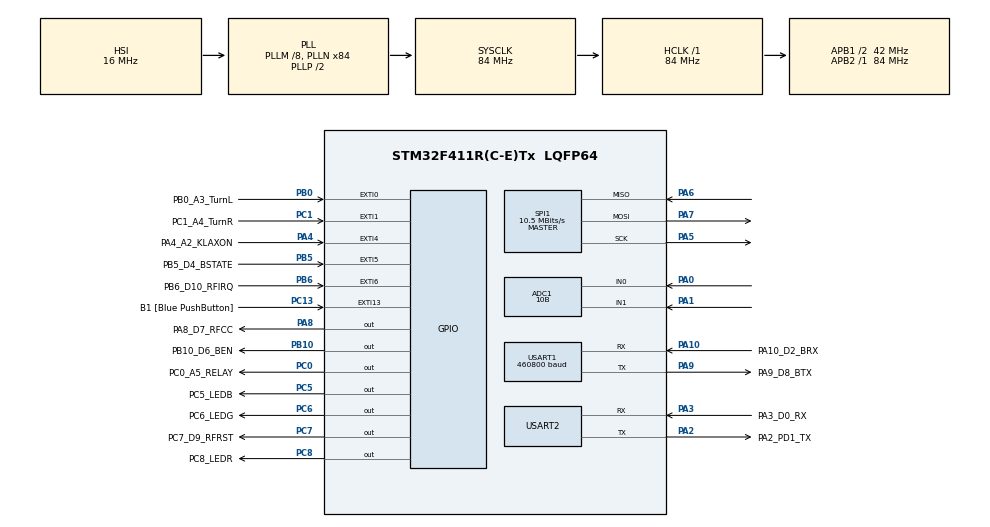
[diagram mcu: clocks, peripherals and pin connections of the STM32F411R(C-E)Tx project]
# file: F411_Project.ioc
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ADC1.Channel-0\#ChannelRegularConversion=ADC_CHANNEL_0
ADC1.Channel-1\#ChannelRegularConversion=ADC_CHANNEL_1
ADC1.ClockPrescaler=ADC_CLOCK_SYNC_PCLK_DIV8
ADC1.ContinuousConvMode=ENABLE
ADC1.DMAContinuousRequests=ENABLE
ADC1.NbrOfConversion=2
ADC1.NbrOfConversionFlag=1
ADC1.Rank-0\#ChannelRegularConversion=1
ADC1.Rank-1\#ChannelRegularConversion=2
ADC1.Resolution=ADC_RESOLUTION_10B
ADC1.SamplingTime-0\#ChannelRegularConversion=ADC_SAMPLETIME_84CYCLES
ADC1.SamplingTime-1\#ChannelRegularConversion=ADC_SAMPLETIME_84CYCLES
ADC1.master=1
Dma.ADC1.0.Direction=DMA_PERIPH_TO_MEMORY
Dma.ADC1.0.FIFOMode=DMA_FIFOMODE_DISABLE
Dma.ADC1.0.Instance=DMA2_Stream0
Dma.ADC1.0.MemDataAlignment=DMA_MDATAALIGN_HALFWORD
Dma.ADC1.0.MemInc=DMA_MINC_ENABLE
Dma.ADC1.0.Mode=DMA_CIRCULAR
Dma.ADC1.0.PeriphDataAlignment=DMA_PDATAALIGN_HALFWORD
Dma.ADC1.0.PeriphInc=DMA_PINC_DISABLE
Dma.ADC1.0.Priority=DMA_PRIORITY_LOW
Dma.Request0=ADC1
FREERTOS.Mutexes01=UART_MUTEX,Dynamic,NULL,Available
FREERTOS.Tasks01=defaultTask,24,128,StartDefaultTask,Default,NULL,Dynamic,NULL,NULL;Joystick,8,256,JoystickTask,Default,NULL,Dynamic,NULL,NULL;RFID,8,512,RFIDTask,Default,NULL,Dynamic,NULL,NULL;Bluetooth,8,512,BluetoothTask,Default,NULL,Dynamic,NULL,NULL;Control,8,256,ControlTask,Default,NULL,Dynamic,NULL,NULL
Mcu.Family=STM32F4
Mcu.Name=STM32F411R(C-E)Tx
Mcu.Package=LQFP64
NVIC.DMA2_Stream0_IRQn=true\:5\:0\:false\:false\:true\:true\:false\:true\:true
NVIC.EXTI0_IRQn=true\:5\:0\:false\:false\:true\:true\:true\:true\:true
NVIC.EXTI1_IRQn=true\:5\:0\:false\:false\:true\:true\:true\:true\:true
NVIC.EXTI4_IRQn=true\:5\:0\:false\:false\:true\:true\:true\:true\:true
NVIC.EXTI9_5_IRQn=true\:5\:0\:false\:false\:true\:true\:true\:true\:true
NVIC.PriorityGroup=NVIC_PRIORITYGROUP_4
NVIC.TIM1_UP_TIM10_IRQn=true\:15\:0\:false\:false\:true\:false\:false\:true\:true
NVIC.TimeBase=TIM1_UP_TIM10_IRQn
NVIC.TimeBaseIP=TIM10
PA0-WKUP.Signal=ADCx_IN0
PA1.Signal=ADCx_IN1
PA10.GPIO_Label=PA10_D2_BRX
PA10.Mode=Asynchronous
PA10.Signal=USART1_RX
PA13.GPIO_Label=TMS
PA13.Mode=Serial_Wire
PA13.Signal=SYS_JTMS-SWDIO
PA14.GPIO_Label=TCK
PA14.Mode=Serial_Wire
PA14.Signal=SYS_JTCK-SWCLK
PA2.GPIO_Label=PA2_PD1_TX
PA2.Mode=Asynchronous
PA2.Signal=USART2_TX
PA3.GPIO_Label=PA3_D0_RX
PA3.Mode=Asynchronous
PA3.Signal=USART2_RX
PA4.GPIO_Label=PA4_A2_KLAXON
PA4.GPIO_ModeDefaultEXTI=GPIO_MODE_IT_FALLING
PA4.Signal=GPXTI4
PA5.Mode=Full_Duplex_Master
PA5.Signal=SPI1_SCK
PA6.Mode=Full_Duplex_Master
PA6.Signal=SPI1_MISO
PA7.Mode=Full_Duplex_Master
PA7.Signal=SPI1_MOSI
PA8.GPIO_Label=PA8_D7_RFCC
PA8.PinState=GPIO_PIN_SET
PA8.Signal=GPIO_Output
PA9.GPIO_Label=PA9_D8_BTX
PA9.Mode=Asynchronous
PA9.Signal=USART1_TX
PB0.GPIO_Label=PB0_A3_TurnL
PB0.GPIO_ModeDefaultEXTI=GPIO_MODE_IT_RISING_FALLING
PB0.GPIO_PuPd=GPIO_NOPULL
PB0.Signal=GPXTI0
PB10.GPIO_Label=PB10_D6_BEN
PB10.GPIO_PuPd=GPIO_NOPULL
PB10.PinState=GPIO_PIN_SET
PB10.Signal=GPIO_Output
PB3.GPIO_Label=SWO
PB3.Signal=SYS_JTDO-SWO
PB5.GPIO_Label=PB5_D4_BSTATE
PB5.GPIO_ModeDefaultEXTI=GPIO_MODE_IT_RISING_FALLING
PB5.Signal=GPXTI5
PB6.GPIO_Label=PB6_D10_RFIRQ
PB6.GPIO_ModeDefaultEXTI=GPIO_MODE_IT_RISING_FALLING
PB6.GPIO_PuPd=GPIO_PULLUP
PB6.Signal=GPXTI6
PC0.GPIO_Label=PC0_A5_RELAY
PC0.PinState=GPIO_PIN_RESET
PC0.Signal=GPIO_Output
PC1.GPIO_Label=PC1_A4_TurnR
PC1.GPIO_ModeDefaultEXTI=GPIO_MODE_IT_RISING_FALLING
PC1.GPIO_PuPd=GPIO_NOPULL
PC1.Signal=GPXTI1
PC13-ANTI_TAMP.GPIO_Label=B1 [Blue PushButton]
PC13-ANTI_TAMP.GPIO_ModeDefaultEXTI=GPIO_MODE_IT_FALLING
PC13-ANTI_TAMP.Signal=GPXTI13
PC14-OSC32_IN.Mode=LSE-External-Oscillator
PC14-OSC32_IN.Signal=RCC_OSC32_IN
PC15-OSC32_OUT.Mode=LSE-External-Oscillator
PC15-OSC32_OUT.Signal=RCC_OSC32_OUT
PC5.GPIO_Label=PC5_LEDB
PC5.Signal=GPIO_Output
PC6.GPIO_Label=PC6_LEDG
PC6.Signal=GPIO_Output
PC7.GPIO_Label=PC7_D9_RFRST
PC7.PinState=GPIO_PIN_SET
PC7.Signal=GPIO_Output
PC8.GPIO_Label=PC8_LEDR
PC8.Signal=GPIO_Output
PH0\ -\ OSC_IN.Mode=HSE-External-Clock-Source
PH0\ -\ OSC_IN.Signal=RCC_OSC_IN
PH1\ -\ OSC_OUT.Mode=HSE-External-Clock-Source
PH1\ -\ OSC_OUT.Signal=RCC_OSC_OUT
ProjectManager.HeapSize=0x200
ProjectManager.StackSize=0x400
ProjectManager.TargetToolchain=CMake
RCC.48MHZClocksFreq_Value=42000000
RCC.AHBFreq_Value=84000000
RCC.APB1CLKDivider=RCC_HCLK_DIV2
RCC.APB1Freq_Value=42000000
RCC.APB1TimFreq_Value=84000000
RCC.APB2Freq_Value=84000000
RCC.APB2TimFreq_Value=84000000
RCC.CortexFreq_Value=84000000
RCC.FLatency-AdvancedSettings=FLASH_LATENCY_2
RCC.HCLKFreq_Value=84000000
RCC.HSE_VALUE=8000000
RCC.HSI_VALUE=16000000
RCC.PLLM=8
RCC.PLLN=84
RCC.SYSCLKFreq_VALUE=84000000
RCC.SYSCLKSource=RCC_SYSCLKSOURCE_PLLCLK
RCC.VCOOutputFreq_Value=168000000
SH.ADCx_IN0.0=ADC1_IN0,IN0
SH.ADCx_IN1.0=ADC1_IN1,IN1
SPI1.BaudRatePrescaler=SPI_BAUDRATEPRESCALER_8
SPI1.CalculateBaudRate=10.5 MBits/s
SPI1.Direction=SPI_DIRECTION_2LINES
SPI1.Mode=SPI_MODE_MASTER
SPI1.VirtualType=VM_MASTER
USART1.BaudRate=460800
USART1.VirtualMode=VM_ASYNC
USART2.VirtualMode=VM_ASYNC
VP_FREERTOS_VS_CMSIS_V2.Mode=CMSIS_V2
VP_SYS_VS_tim10.Mode=TIM10
board=NUCLEO-F411RE

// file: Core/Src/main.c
/* USER CODE BEGIN Header */
/**
  ******************************************************************************
  * @file           : main.c
  * @brief          : Main program body
  ******************************************************************************
  * @attention
  *
  * Copyright (c) 2026 STMicroelectronics.
  * All rights reserved.
  *
  * This software is licensed under terms that can be found in the LICENSE file
  * in the root directory of this software component.
  * If no LICENSE file comes with this software, it is provided AS-IS.
  *
  ******************************************************************************
  */
/* USER CODE END Header */
#include "main.h"
#include "cmsis_os.h"
#include "adc.h"
#include "dma.h"
#include "spi.h"
#include "usart.h"
#include "gpio.h"

/* USER CODE BEGIN Includes */
#include <stdio.h>
#include <stdint.h>
/* USER CODE END Includes */

void SystemClock_Config(void);
void MX_FREERTOS_Init(void);

/* USER CODE BEGIN 0 */
int __io_putchar(int ch)
{
  HAL_UART_Transmit(&huart2, (uint8_t*)&ch, 1, 0xFFFF);
  return ch;
}
/* USER CODE END 0 */

int main(void)
{

  /* MCU Configuration--------------------------------------------------------*/

  /* Reset of all peripherals, Initializes the Flash interface and the Systick. */
  HAL_Init(); bn

  /* Configure the system clock */
  SystemClock_Config();

  /* Initialize all configured peripherals */
  MX_GPIO_Init();
  MX_DMA_Init();
  MX_USART2_UART_Init();
  MX_ADC1_Init();
  MX_USART1_UART_Init();
  MX_SPI1_Init();

  /* Init scheduler */
  osKernelInitialize();  /* Call init function for freertos objects (in cmsis_os2.c) */
  MX_FREERTOS_Init();

  /* Start scheduler */
  osKernelStart();

  /* We should never get here as control is now taken by the scheduler */

  /* Infinite loop */
  while (1)
  {

  }
}

void SystemClock_Config(void)
{
  RCC_OscInitTypeDef RCC_OscInitStruct = {0};
  RCC_ClkInitTypeDef RCC_ClkInitStruct = {0};

  /** Configure the main internal regulator output voltage
  */
  __HAL_RCC_PWR_CLK_ENABLE();
  __HAL_PWR_VOLTAGESCALING_CONFIG(PWR_REGULATOR_VOLTAGE_SCALE1);

  /** Initializes the RCC Oscillators according to the specified parameters
  * in the RCC_OscInitTypeDef structure.
  */
  RCC_OscInitStruct.OscillatorType = RCC_OSCILLATORTYPE_HSI;
  RCC_OscInitStruct.HSIState = RCC_HSI_ON;
  RCC_OscInitStruct.HSICalibrationValue = RCC_HSICALIBRATION_DEFAULT;
  RCC_OscInitStruct.PLL.PLLState = RCC_PLL_ON;
  RCC_OscInitStruct.PLL.PLLSource = RCC_PLLSOURCE_HSI;
  RCC_OscInitStruct.PLL.PLLM = 8;
  RCC_OscInitStruct.PLL.PLLN = 84;
  RCC_OscInitStruct.PLL.PLLP = RCC_PLLP_DIV2;
  RCC_OscInitStruct.PLL.PLLQ = 4;
  if (HAL_RCC_OscConfig(&RCC_OscInitStruct) != HAL_OK)
  {
    Error_Handler();
  }

  /** Initializes the CPU, AHB and APB buses clocks
  */
  RCC_ClkInitStruct.ClockType = RCC_CLOCKTYPE_HCLK|RCC_CLOCKTYPE_SYSCLK
                              |RCC_CLOCKTYPE_PCLK1|RCC_CLOCKTYPE_PCLK2;
  RCC_ClkInitStruct.SYSCLKSource = RCC_SYSCLKSOURCE_PLLCLK;
  RCC_ClkInitStruct.AHBCLKDivider = RCC_SYSCLK_DIV1;
  RCC_ClkInitStruct.APB1CLKDivider = RCC_HCLK_DIV2;
  RCC_ClkInitStruct.APB2CLKDivider = RCC_HCLK_DIV1;

  if (HAL_RCC_ClockConfig(&RCC_ClkInitStruct, FLASH_LATENCY_2) != HAL_OK)
  {
    Error_Handler();
  }
}

void HAL_TIM_PeriodElapsedCallback(TIM_HandleTypeDef *htim)
{
  if (htim->Instance == TIM10)
  {
    HAL_IncTick();
  }
}

void Error_Handler(void)
{
  __disable_irq();
  while (1)
  {
  }
}

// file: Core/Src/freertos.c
/* USER CODE BEGIN Header */
/**
  ******************************************************************************
  * File Name          : freertos.c
  * Description        : Code for freertos applications
  ******************************************************************************
  * @attention
  *
  * Copyright (c) 2026 STMicroelectronics.
  * All rights reserved.
  *
  * This software is licensed under terms that can be found in the LICENSE file
  * in the root directory of this software component.
  * If no LICENSE file comes with this software, it is provided AS-IS.
  *
  ******************************************************************************
  */
/* USER CODE END Header */

#include "FreeRTOS.h"
#include "task.h"
#include "main.h"
#include "cmsis_os.h"

/* USER CODE BEGIN Includes */
#include "sysconfigs.h"

/* USER CODE END Includes */

/* Definitions for defaultTask */
osThreadId_t defaultTaskHandle;
const osThreadAttr_t defaultTask_attributes = {
  .name = "defaultTask",
  .stack_size = 128 * 4,
  .priority = (osPriority_t) osPriorityNormal,
};
/* Definitions for Joystick */
osThreadId_t JoystickHandle;
const osThreadAttr_t Joystick_attributes = {
  .name = "Joystick",
  .stack_size = 256 * 4,
  .priority = (osPriority_t) osPriorityLow,
};
/* Definitions for RFID */
osThreadId_t RFIDHandle;
const osThreadAttr_t RFID_attributes = {
  .name = "RFID",
  .stack_size = 512 * 4,
  .priority = (osPriority_t) osPriorityLow,
};
/* Definitions for Bluetooth */
osThreadId_t BluetoothHandle;
const osThreadAttr_t Bluetooth_attributes = {
  .name = "Bluetooth",
  .stack_size = 512 * 4,
  .priority = (osPriority_t) osPriorityLow,
};
/* Definitions for Control */
osThreadId_t ControlHandle;
const osThreadAttr_t Control_attributes = {
  .name = "Control",
  .stack_size = 256 * 4,
  .priority = (osPriority_t) osPriorityLow,
};
/* Definitions for UART_MUTEX */
osMutexId_t UART_MUTEXHandle;
const osMutexAttr_t UART_MUTEX_attributes = {
  .name = "UART_MUTEX"
};

void StartDefaultTask(void *argument);
void JoystickTask(void *argument);
void RFIDTask(void *argument);
void BluetoothTask(void *argument);
void ControlTask(void *argument);

void MX_FREERTOS_Init(void); /* (MISRA C 2004 rule 8.1) */

void MX_FREERTOS_Init(void) {
  /* USER CODE BEGIN Init */
  My_ADC_Init();
  My_SPI_Init();
  My_UART_Init();
  /* USER CODE END Init */
  /* Create the mutex(es) */
  /* creation of UART_MUTEX */
  UART_MUTEXHandle = osMutexNew(&UART_MUTEX_attributes);

  /* Create the thread(s) */
  /* creation of defaultTask */
  defaultTaskHandle = osThreadNew(StartDefaultTask, NULL, &defaultTask_attributes);

  /* creation of Joystick */
  JoystickHandle = osThreadNew(JoystickTask, NULL, &Joystick_attributes);

  /* creation of RFID */
  RFIDHandle = osThreadNew(RFIDTask, NULL, &RFID_attributes);

  /* creation of Bluetooth */
  BluetoothHandle = osThreadNew(BluetoothTask, NULL, &Bluetooth_attributes);

  /* creation of Control */
  ControlHandle = osThreadNew(ControlTask, NULL, &Control_attributes);

}

void StartDefaultTask(void *argument)
{
  /* USER CODE BEGIN StartDefaultTask */
  /* Infinite loop */
  osThreadExit();
  /* USER CODE END StartDefaultTask */
}

void JoystickTask(void *argument)
{
  /* USER CODE BEGIN JoystickTask */

  /* Infinite loop */
  for(;;)
  {

    if(System_CanControl())
      Joystick_Progress();

    osDelay(10);
  }
  /* USER CODE END JoystickTask */
}

void RFIDTask(void *argument)
{
  /* USER CODE BEGIN RFIDTask */
  RC522_Init();

  /* Infinite loop */
  for(;;)
  {
    RFID_Process();

    osDelay(100);
  }
  /* USER CODE END RFIDTask */
}

void BluetoothTask(void *argument)
{
  /* USER CODE BEGIN BluetoothTask */

    for (;;)
    {
      // Bluetooth_ATProgress();
      // Bluetooth_TestProgress();
      osDelay(1);
    }
  /* USER CODE END BluetoothTask */
}

void ControlTask(void *argument)
{
  /* USER CODE BEGIN ControlTask */
  /* Infinite loop */
  /* USER CODE BEGIN SwtichTesk */
  uint32_t lastLedTick = 0;

  uint32_t tactDebounceTick = 0;
  uint32_t toggleDebounceTick = 0;

  uint8_t tactPending_flag = 0;
  uint8_t togglePending_flag = 0;

  /* Infinite loop */
  Toggle_SwitchInit();
  System_Init();

  for(;;)
  {
    uint32_t now;
    uint32_t flags;

    now = osKernelGetTickCount();

    flags = osThreadFlagsWait(CONTROL_FLAG_ALL, osFlagsWaitAny, 1);

    if((flags & osFlagsError) == 0)
    {

      if(flags & CONTROL_FLAG_RFID_AUTHORIZED)
          System_HandleRfidAuthorized();

      if(flags & CONTROL_FLAG_RFID_UNKNOWN)
          System_HandleRfidUnknown();

      if(flags & CONTROL_FLAG_BT_STATE_CHANGED)
      {
          uint8_t activated = System_HandleBluetoothStateChanged();

          if(activated)
              Control_SendCurrentToggle();
      }

      if(flags & CONTROL_FLAG_TACT_SWITCH)
      {
          tactPending_flag = 1;
          tactDebounceTick = now;
      }

      if(flags & CONTROL_FLAG_TOGGLE_SWITCH)
      {
          togglePending_flag = 1;
          toggleDebounceTick = now;
      }
    }

    now = osKernelGetTickCount();

    if(tactPending_flag && (now - tactDebounceTick) >= TACT_DEBOUNCE_MS)
    {
      Protocol_DataFrame frame = {0};

      tactPending_flag = 0;

      if(System_CanControl())
      {
          Tact_SwitchProgress(&frame);

          if(frame.protocal_Id != 0)
              Send_MultipleDataFrame(&frame, COMMAND);
      }
    }

    if(togglePending_flag && (now - toggleDebounceTick) >= TOGGLE_DEBOUNCE_MS)
    {
        Protocol_DataFrame frame = {0};

        togglePending_flag = 0;

        if(System_CanControl())
        {
            Toggle_SwitchProgress(&frame);

            if(frame.protocal_Id != 0)
                Send_MultipleDataFrame(&frame, COMMAND);
        }
      }

      /* LED 로직 함수에는 반복문이 없고 여기서 100ms마다 호출한다. */
      if((now - lastLedTick) >= LED_UPDATE_PERIOD_MS)
      {
          lastLedTick = now;
          System_LedProgress(now);
      }

    osDelay(1);
  }
  /* USER CODE END ControlTask */
}
